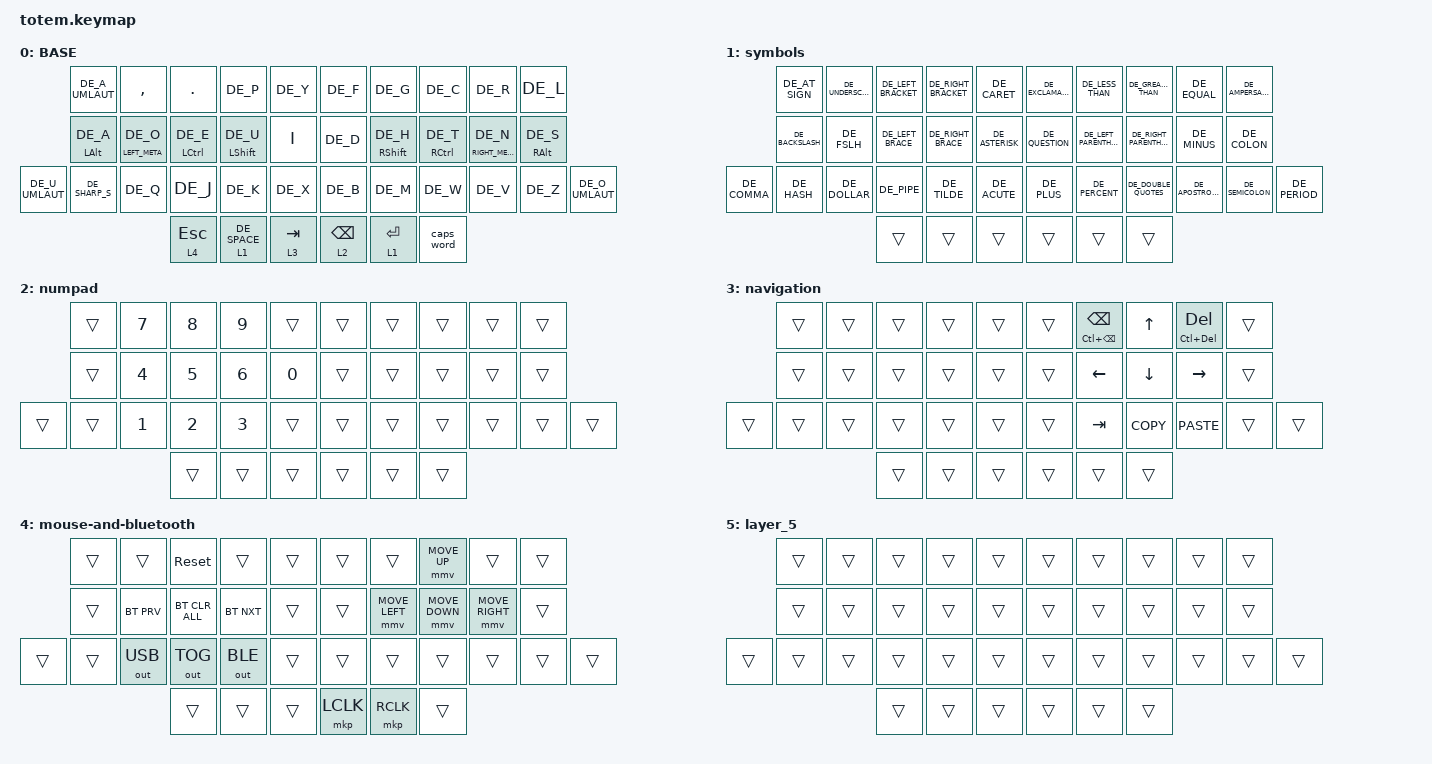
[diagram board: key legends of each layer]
//
//                                                        ▀▀▀▀▀     ▀▀▀▀▀          ▀▀█▀▀
//                                                        ▄▀▀▀▄  ▄  ▄▀▀▀▄  ▄  ▄▀▀▀▄  █  ▄▀▀▀▄
//                                                        █   █  █  █   █  █  █   █  █  █   █
//                                                         ▀▀▀   █   ▀▀▀   █   ▀▀▀   ▀   ▀▀▀
//                                                               █      ▄▄▄█▄▄▄    █   █
//                                                               ▀      █  █  █     █▄█
//                                                             ▀▀▀▀▀    █  █  █      ▀
//                                                                      ▀  ▀  ▀
//
// ▄▄▄▄▄▄▄▄▄▄▄▄▄▄▄▄▄▄▄▄▄▄▄▄▄▄▄▄▄▄▄▄▄▄▄▄▄▄▄▄▄▄▄▄▄▄▄▄▄▄▄▄▄▄▄▄▄▄▄▄▄▄▄▄▄▄▄▄▄▄▄▄▄▄▄▄▄▄▄▄▄▄▄▄▄▄▄▄▄▄▄▄▄▄▄▄▄▄▄▄▄▄▄▄▄▄▄▄▄▄▄▄▄▄▄▄▄▄▄▄▄▄▄▄▄▄▄▄▄▄▄▄▄▄▄▄▄▄▄▄▄▄▄▄▄▄▄▄▄

#include <behaviors.dtsi>
#include <dt-bindings/zmk/bt.h>
#include <dt-bindings/zmk/keys.h>
#include <dt-bindings/zmk/outputs.h>
#include <dt-bindings/zmk/pointing.h>
#include "keys_de.h"

#define BASE 0
#define NAV  1
#define SYM  2
#define ADJ  3
#define TVP1 4
#define TVP2 5

&mt {
    quick-tap-ms = <100>;
    global-quick-tap;
    flavor = "tap-preferred";
    tapping-term-ms = <170>;
};

/ {
    combos {
        compatible = "zmk,combos";

        activate-arrow-keys {
            bindings = <&mo 3>;
            key-positions = <13 12 11>;
            layers = <0>;
        };

        activate-numpad {
            bindings = <&mo 2>;
            key-positions = <16 17 18>;
        };
    };

    behaviors {
        homerow_r: homerow_r {
            compatible = "zmk,behavior-hold-tap";
            label = "HOMEROW_R";
            bindings = <&kp>, <&kp>;

            #binding-cells = <2>;
            tapping-term-ms = <280>;
            hold-trigger-key-positions = <0 1 2 3 4 10 11 12 13 14 20 21 22 23 24 25 32 33 34>;
            hold-trigger-on-release;
            flavor = "balanced";
            quick-tap-ms = <175>;
            require-prior-idle-ms = <150>;
        };

        homerow_l: homerow_l {
            compatible = "zmk,behavior-hold-tap";
            label = "HOMEROW_L";
            bindings = <&kp>, <&kp>;

            #binding-cells = <2>;
            tapping-term-ms = <280>;
            hold-trigger-on-release;
            flavor = "balanced";
            hold-trigger-key-positions = <5 6 7 8 9 15 16 17 18 19 26 27 28 29 30 31 35 36 37>;
            quick-tap-ms = <175>;
            require-prior-idle-ms = <150>;
        };
    };

    keymap {
        compatible = "zmk,keymap";

        // ▄▄▄▄▄▄▄▄▄▄▄▄▄▄▄▄▄▄▄▄▄▄▄▄▄▄▄▄▄▄▄▄▄▄▄▄▄▄▄▄▄▄▄▄▄▄▄▄▄▄▄▄▄▄▄▄▄▄▄▄▄▄▄▄▄▄▄▄▄▄▄▄▄▄▄▄▄▄▄▄▄▄▄▄▄▄▄▄▄▄▄▄▄▄▄▄▄▄▄▄▄▄▄▄▄▄▄▄▄▄▄▄▄▄▄▄▄▄▄▄▄▄▄▄▄▄▄▄▄▄▄▄▄▄▄▄▄▄▄▄▄▄▄▄▄▄▄▄▄

        base_layer {
            // ┏━━━━━━━━━━━━━━━━━━━━━━━━━━━━━━━━━━━━━━━┓

            label = "BASE";

            // ┗━━━━━━━━━━━━━━━━━━━━━━━━━━━━━━━━━━━━━━━┛
            //             ┏━━━━━━━━━━━┳━━━━━━━━━━━┳━━━━━━━━━━━┳━━━━━━━━━━━┳━━━━━━━━━━━┓   ┏━━━━━━━━━━━┳━━━━━━━━━━━┳━━━━━━━━━━━┳━━━━━━━━━━━┳━━━━━━━━━━━┓
            //             ┃     Q     ┃     W     ┃     F     ┃     P     ┃     G     ┃   ┃     J     ┃     L     ┃     U     ┃     Y     ┃     ;     ┃
            //             ┣━━━━━━━━━━━╋━━━━━━━━━━━╋━━━━━━━━━━━╋━━━━━━━━━━━╋━━━━━━━━━━━┫   ┣━━━━━━━━━━━╋━━━━━━━━━━━╋━━━━━━━━━━━╋━━━━━━━━━━━╋━━━━━━━━━━━┫
            //             ┃     A     ┃     R     ┃     S     ┃     T     ┃     D     ┃   ┃     H     ┃     N     ┃     E     ┃     I     ┃     O     ┃
            // ┏━━━━━━━━━━━╋━━━━━━━━━━━╋━━━━━━━━━━━╋━━━━━━━━━━━╋━━━━━━━━━━━╋━━━━━━━━━━━┫   ┣━━━━━━━━━━━╋━━━━━━━━━━━╋━━━━━━━━━━━╋━━━━━━━━━━━╋━━━━━━━━━━━╋━━━━━━━━━━━┓
            // ┃     Q     ┃     Z     ┃     X     ┃     C     ┃     V     ┃     B     ┃   ┃     K     ┃     M     ┃     ,     ┃     .     ┃     /     ┃     \     ┃
            // ┗━━━━━━━━━━━┻━━━━━━━━━━━┻━━━━━━━━━━━╋━━━━━━━━━━━╋━━━━━━━━━━━╋━━━━━━━━━━━┫   ┣━━━━━━━━━━━╋━━━━━━━━━━━╋━━━━━━━━━━━╋━━━━━━━━━━━┻━━━━━━━━━━━┻━━━━━━━━━━━┛
            //                                     ┃    DEL    ┃    TAB    ┃    SPC    ┃   ┃   ENTER   ┃           ┃   BSPC    ┃
            //                                     ┗━━━━━━━━━━━┻━━━━━━━━━━━┻━━━━━━━━━━━┛   ┗━━━━━━━━━━━┻━━━━━━━━━━━┻━━━━━━━━━━━┛

            bindings = <
                 &kp DE_A_UMLAUT           &kp COMMA                  &kp DOT                       &kp DE_P                    &kp DE_Y     &kp DE_F         &kp DE_G                     &kp DE_C                       &kp DE_R                    &kp DE_L
                 &homerow_l LEFT_ALT DE_A  &homerow_l LEFT_META DE_O  &homerow_l LEFT_CONTROL DE_E  &homerow_l LEFT_SHIFT DE_U  &kp I        &kp DE_D         &homerow_r RIGHT_SHIFT DE_H  &homerow_r RIGHT_CONTROL DE_T  &homerow_r RIGHT_META DE_N  &homerow_r RIGHT_ALT DE_S
&kp DE_U_UMLAUT  &kp DE_SHARP_S            &kp DE_Q                   &kp DE_J                      &kp DE_K                    &kp DE_X     &kp DE_B         &kp DE_M                     &kp DE_W                       &kp DE_V                    &kp DE_Z                   &kp DE_O_UMLAUT
                                                                      &lt 4 ESCAPE                  &lt 1 DE_SPACE              &lt 3 TAB    &lt 2 BACKSPACE  &lt 1 ENTER                  &caps_word
            >;
        };

        symbols {
            bindings = <
              &kp DE_AT_SIGN    &kp DE_UNDERSCORE  &kp DE_LEFT_BRACKET  &kp DE_RIGHT_BRACKET  &kp DE_CARET       &kp DE_EXCLAMATION  &kp DE_LESS_THAN         &kp DE_GREATER_THAN       &kp DE_EQUAL       &kp DE_AMPERSAND
              &kp DE_BACKSLASH  &kp DE_FSLH        &kp DE_LEFT_BRACE    &kp DE_RIGHT_BRACE    &kp DE_ASTERISK    &kp DE_QUESTION     &kp DE_LEFT_PARENTHESIS  &kp DE_RIGHT_PARENTHESIS  &kp DE_MINUS       &kp DE_COLON
&kp DE_COMMA  &kp DE_HASH       &kp DE_DOLLAR      &kp DE_PIPE          &kp DE_TILDE          &kp DE_ACUTE       &kp DE_PLUS         &kp DE_PERCENT           &kp DE_DOUBLE_QUOTES      &kp DE_APOSTROPHE  &kp DE_SEMICOLON  &kp DE_PERIOD
                                                   &trans               &trans                &trans             &trans              &trans                   &trans
            >;
        };

        numpad {
            bindings = <
        &trans  &kp N7  &kp N8  &kp N9  &trans    &trans  &trans  &trans  &trans  &trans
        &trans  &kp N4  &kp N5  &kp N6  &kp N0    &trans  &trans  &trans  &trans  &trans
&trans  &trans  &kp N1  &kp N2  &kp N3  &trans    &trans  &trans  &trans  &trans  &trans  &trans
                        &trans  &trans  &trans    &trans  &trans  &trans
            >;
        };

        navigation {
            bindings = <
        &trans  &trans  &trans  &trans  &trans    &trans  &mt LC(BACKSPACE) BACKSPACE  &kp UP      &mt LC(DELETE) DELETE  &trans
        &trans  &trans  &trans  &trans  &trans    &trans  &kp LEFT                     &kp DOWN    &kp RIGHT_ARROW        &trans
&trans  &trans  &trans  &trans  &trans  &trans    &trans  &kp TAB                      &kp K_COPY  &kp K_PASTE            &trans  &trans
                        &trans  &trans  &trans    &trans  &trans                       &trans
            >;
        };

        mouse-and-bluetooth {
            bindings = <
        &trans  &trans        &sys_reset      &trans        &trans    &trans     &trans          &mmv MOVE_UP    &trans           &trans
        &trans  &bt BT_PRV    &bt BT_CLR_ALL  &bt BT_NXT    &trans    &trans     &mmv MOVE_LEFT  &mmv MOVE_DOWN  &mmv MOVE_RIGHT  &trans
&trans  &trans  &out OUT_USB  &out OUT_TOG    &out OUT_BLE  &trans    &trans     &trans          &trans          &trans           &trans  &trans
                              &trans          &trans        &trans    &mkp LCLK  &mkp RCLK       &trans
            >;
        };

        layer_5 {
            bindings = <
        &trans  &trans  &trans  &trans  &trans    &trans  &trans  &trans  &trans  &trans
        &trans  &trans  &trans  &trans  &trans    &trans  &trans  &trans  &trans  &trans
&trans  &trans  &trans  &trans  &trans  &trans    &trans  &trans  &trans  &trans  &trans  &trans
                        &trans  &trans  &trans    &trans  &trans  &trans
            >;
        };

        // ▄▄▄▄▄▄▄▄▄▄▄▄▄▄▄▄▄▄▄▄▄▄▄▄▄▄▄▄▄▄▄▄▄▄▄▄▄▄▄▄▄▄▄▄▄▄▄▄▄▄▄▄▄▄▄▄▄▄▄▄▄▄▄▄▄▄▄▄▄▄▄▄▄▄▄▄▄▄▄▄▄▄▄▄▄▄▄▄▄▄▄▄▄▄▄▄▄▄▄▄▄▄▄▄▄▄▄▄▄▄▄▄▄▄▄▄▄▄▄▄▄▄▄▄▄▄▄▄▄▄▄▄▄▄▄▄▄▄▄▄▄▄▄▄▄▄▄▄▄
        // ▄▄▄▄▄▄▄▄▄▄▄▄▄▄▄▄▄▄▄▄▄▄▄▄▄▄▄▄▄▄▄▄▄▄▄▄▄▄▄▄▄▄▄▄▄▄▄▄▄▄▄▄▄▄▄▄▄▄▄▄▄▄▄▄▄▄▄▄▄▄▄▄▄▄▄▄▄▄▄▄▄▄▄▄▄▄▄▄▄▄▄▄▄▄▄▄▄▄▄▄▄▄▄▄▄▄▄▄▄▄▄▄▄▄▄▄▄▄▄▄▄▄▄▄▄▄▄▄▄▄▄▄▄▄▄▄▄▄▄▄▄▄▄▄▄▄▄▄▄
        // ▄▄▄▄▄▄▄▄▄▄▄▄▄▄▄▄▄▄▄▄▄▄▄▄▄▄▄▄▄▄▄▄▄▄▄▄▄▄▄▄▄▄▄▄▄▄▄▄▄▄▄▄▄▄▄▄▄▄▄▄▄▄▄▄▄▄▄▄▄▄▄▄▄▄▄▄▄▄▄▄▄▄▄▄▄▄▄▄▄▄▄▄▄▄▄▄▄▄▄▄▄▄▄▄▄▄▄▄▄▄▄▄▄▄▄▄▄▄▄▄▄▄▄▄▄▄▄▄▄▄▄▄▄▄▄▄▄▄▄▄▄▄▄▄▄▄▄▄▄
        // ▄▄▄▄▄▄▄▄▄▄▄▄▄▄▄▄▄▄▄▄▄▄▄▄▄▄▄▄▄▄▄▄▄▄▄▄▄▄▄▄▄▄▄▄▄▄▄▄▄▄▄▄▄▄▄▄▄▄▄▄▄▄▄▄▄▄▄▄▄▄▄▄▄▄▄▄▄▄▄▄▄▄▄▄▄▄▄▄▄▄▄▄▄▄▄▄▄▄▄▄▄▄▄▄▄▄▄▄▄▄▄▄▄▄▄▄▄▄▄▄▄▄▄▄▄▄▄▄▄▄▄▄▄▄▄▄▄▄▄▄▄▄▄▄▄▄▄▄▄
        // ▄▄▄▄▄▄▄▄▄▄▄▄▄▄▄▄▄▄▄▄▄▄▄▄▄▄▄▄▄▄▄▄▄▄▄▄▄▄▄▄▄▄▄▄▄▄▄▄▄▄▄▄▄▄▄▄▄▄▄▄▄▄▄▄▄▄▄▄▄▄▄▄▄▄▄▄▄▄▄▄▄▄▄▄▄▄▄▄▄▄▄▄▄▄▄▄▄▄▄▄▄▄▄▄▄▄▄▄▄▄▄▄▄▄▄▄▄▄▄▄▄▄▄▄▄▄▄▄▄▄▄▄▄▄▄▄▄▄▄▄▄▄▄▄▄▄▄▄▄
    };
};
